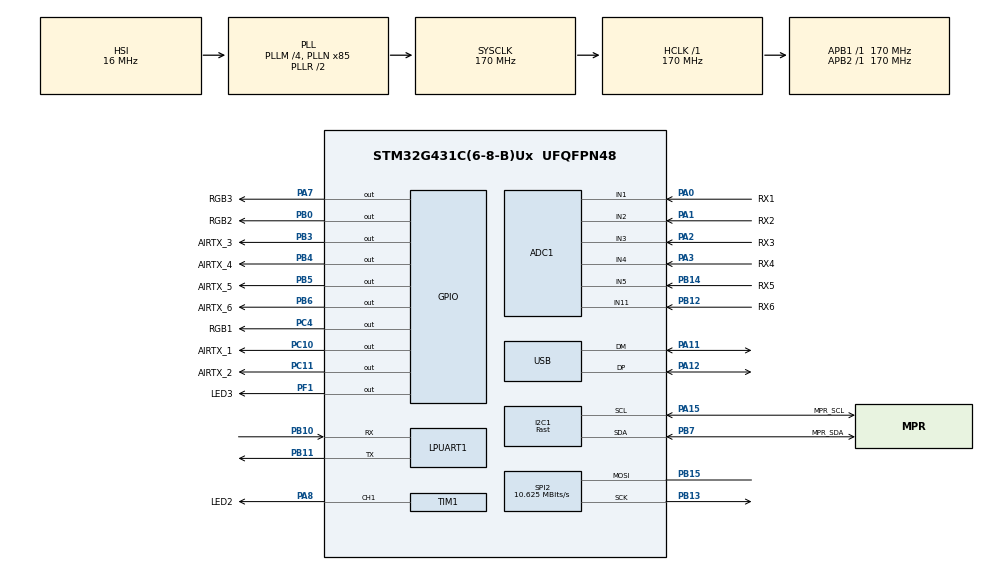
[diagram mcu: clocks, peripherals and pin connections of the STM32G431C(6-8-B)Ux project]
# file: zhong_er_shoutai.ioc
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ADC1.Channel-0\#ChannelRegularConversion=ADC_CHANNEL_1
ADC1.Channel-1\#ChannelRegularConversion=ADC_CHANNEL_2
ADC1.Channel-2\#ChannelRegularConversion=ADC_CHANNEL_3
ADC1.Channel-3\#ChannelRegularConversion=ADC_CHANNEL_4
ADC1.Channel-4\#ChannelRegularConversion=ADC_CHANNEL_5
ADC1.Channel-5\#ChannelRegularConversion=ADC_CHANNEL_11
ADC1.ContinuousConvMode=ENABLE
ADC1.NbrOfConversion=6
ADC1.NbrOfConversionFlag=1
ADC1.OffsetNumber-0\#ChannelRegularConversion=ADC_OFFSET_NONE
ADC1.OffsetNumber-1\#ChannelRegularConversion=ADC_OFFSET_NONE
ADC1.OffsetNumber-2\#ChannelRegularConversion=ADC_OFFSET_NONE
ADC1.OffsetNumber-3\#ChannelRegularConversion=ADC_OFFSET_NONE
ADC1.OffsetNumber-4\#ChannelRegularConversion=ADC_OFFSET_NONE
ADC1.OffsetNumber-5\#ChannelRegularConversion=ADC_OFFSET_NONE
ADC1.Rank-0\#ChannelRegularConversion=1
ADC1.Rank-1\#ChannelRegularConversion=2
ADC1.Rank-2\#ChannelRegularConversion=3
ADC1.Rank-3\#ChannelRegularConversion=4
ADC1.Rank-4\#ChannelRegularConversion=5
ADC1.Rank-5\#ChannelRegularConversion=6
ADC1.SamplingTime-0\#ChannelRegularConversion=ADC_SAMPLETIME_247CYCLES_5
ADC1.SamplingTime-1\#ChannelRegularConversion=ADC_SAMPLETIME_247CYCLES_5
ADC1.SamplingTime-2\#ChannelRegularConversion=ADC_SAMPLETIME_247CYCLES_5
ADC1.SamplingTime-3\#ChannelRegularConversion=ADC_SAMPLETIME_247CYCLES_5
ADC1.SamplingTime-4\#ChannelRegularConversion=ADC_SAMPLETIME_247CYCLES_5
ADC1.SamplingTime-5\#ChannelRegularConversion=ADC_SAMPLETIME_247CYCLES_5
ADC1.master=1
I2C1.I2C_Speed_Mode=I2C_Fast
I2C1.Speed=260
I2C1.Timing=0x20501EB3
Mcu.Family=STM32G4
Mcu.Name=STM32G431C(6-8-B)Ux
Mcu.Package=UFQFPN48
NVIC.PriorityGroup=NVIC_PRIORITYGROUP_4
NVIC.TIM2_IRQn=true\:0\:0\:false\:false\:true\:true\:true\:true
NVIC.TIM6_DAC_IRQn=true\:0\:0\:false\:false\:true\:true\:true\:true
NVIC.USB_LP_IRQn=true\:0\:0\:false\:false\:true\:false\:true\:true
PA0.GPIO_Label=RX1
PA0.Mode=IN1-Single-Ended
PA0.Signal=ADC1_IN1
PA1.GPIO_Label=RX2
PA1.Mode=IN2-Single-Ended
PA1.Signal=ADC1_IN2
PA11.Mode=Device
PA11.Signal=USB_DM
PA12.Mode=Device
PA12.Signal=USB_DP
PA13.Mode=Serial_Wire
PA13.Signal=SYS_JTMS-SWDIO
PA14.Mode=Serial_Wire
PA14.Signal=SYS_JTCK-SWCLK
PA15.GPIO_Label=MPR_SCL
PA15.Mode=I2C
PA15.Signal=I2C1_SCL
PA2.GPIO_Label=RX3
PA2.Mode=IN3-Single-Ended
PA2.Signal=ADC1_IN3
PA3.GPIO_Label=RX4
PA3.Mode=IN4-Single-Ended
PA3.Signal=ADC1_IN4
PA7.GPIO_Label=RGB3
PA7.Signal=GPIO_Output
PA8.GPIO_Label=LED2
PA8.Signal=S_TIM1_CH1
PB0.GPIO_Label=RGB2
PB0.Signal=GPIO_Output
PB10.Mode=Asynchronous
PB10.Signal=LPUART1_RX
PB11.Mode=Asynchronous
PB11.Signal=LPUART1_TX
PB12.GPIO_Label=RX6
PB12.Mode=IN11-Single-Ended
PB12.Signal=ADC1_IN11
PB13.Mode=Simplex_Bidirectional_Master
PB13.Signal=SPI2_SCK
PB14.GPIO_Label=RX5
PB14.Mode=IN5-Single-Ended
PB14.Signal=ADC1_IN5
PB15.Mode=Simplex_Bidirectional_Master
PB15.Signal=SPI2_MOSI
PB3.GPIO_Label=AIRTX_3
PB3.Signal=GPIO_Output
PB4.GPIO_Label=AIRTX_4
PB4.Signal=GPIO_Output
PB5.GPIO_Label=AIRTX_5
PB5.Signal=GPIO_Output
PB6.GPIO_Label=AIRTX_6
PB6.Signal=GPIO_Output
PB7.GPIO_Label=MPR_SDA
PB7.Mode=I2C
PB7.Signal=I2C1_SDA
PC10.GPIO_Label=AIRTX_1
PC10.Signal=GPIO_Output
PC11.GPIO_Label=AIRTX_2
PC11.Signal=GPIO_Output
PC4.GPIO_Label=RGB1
PC4.Signal=GPIO_Output
PF0-OSC_IN.Mode=HSE-External-Clock-Source
PF0-OSC_IN.Signal=RCC_OSC_IN
PF1-OSC_OUT.GPIO_Label=LED3
PF1-OSC_OUT.Signal=GPIO_Output
ProjectManager.HeapSize=0x200
ProjectManager.StackSize=0x400
ProjectManager.TargetToolchain=MDK-ARM V5.32
RCC.ADC12Freq_Value=170000000
RCC.AHBFreq_Value=170000000
RCC.APB1Freq_Value=170000000
RCC.APB1TimFreq_Value=170000000
RCC.APB2Freq_Value=170000000
RCC.APB2TimFreq_Value=170000000
RCC.CK48CLockSelection=RCC_USBCLKSOURCE_HSI48
RCC.CortexFreq_Value=170000000
RCC.EXTERNAL_CLOCK_VALUE=12288000
RCC.HCLKFreq_Value=170000000
RCC.HSE_VALUE=8000000
RCC.HSI48_VALUE=48000000
RCC.HSI_VALUE=16000000
RCC.LSE_VALUE=32768
RCC.PLLM=RCC_PLLM_DIV4
RCC.PLLN=85
RCC.PLLQ=RCC_PLLQ_DIV4
RCC.SYSCLKFreq_VALUE=170000000
RCC.SYSCLKSource=RCC_SYSCLKSOURCE_PLLCLK
RCC.USBFreq_Value=48000000
RCC.VCOOutputFreq_Value=340000000
SH.S_TIM1_CH1.0=TIM1_CH1,PWM Generation1 CH1
SPI2.BaudRatePrescaler=SPI_BAUDRATEPRESCALER_16
SPI2.CalculateBaudRate=10.625 MBits/s
SPI2.DataSize=SPI_DATASIZE_8BIT
SPI2.Direction=SPI_DIRECTION_1LINE
SPI2.Mode=SPI_MODE_MASTER
SPI2.NSSPMode=SPI_NSS_PULSE_DISABLE
SPI2.VirtualType=VM_MASTER
TIM1.Channel-PWM\ Generation1\ CH1=TIM_CHANNEL_1
TIM1.PeriodNoDither=170
TIM1.TIM_MasterOutputTrigger=TIM_TRGO_UPDATE
TIM1.TIM_MasterSlaveMode=TIM_MASTERSLAVEMODE_ENABLE
TIM6.AutoReloadPreload=TIM_AUTORELOAD_PRELOAD_ENABLE
TIM6.PeriodNoDither=10000
TIM6.Prescaler=16
USB_DEVICE.CLASS_NAME_FS=HID
USB_DEVICE.VirtualMode=Hid
USB_DEVICE.VirtualModeFS=Hid_FS
VP_SYS_VS_DBSignals.Mode=DisableDeadBatterySignals
VP_TIM1_VS_ClockSourceINT.Mode=Internal
VP_TIM2_VS_ClockSourceITR.Mode=TriggerSource_ITR1
VP_TIM2_VS_ControllerModeGated.Mode=Gated Mode
VP_TIM6_VS_ClockSourceINT.Mode=Enable_Timer
VP_USB_DEVICE_VS_USB_DEVICE_HID_FS.Mode=HID_FS
board=custom

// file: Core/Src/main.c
/* USER CODE BEGIN Header */
/**
  ******************************************************************************
  * @file           : main.c
  * @brief          : Main program body
  ******************************************************************************
  * @attention
  *
  * Copyright (c) 2024 STMicroelectronics.
  * All rights reserved.
  *
  * This software is licensed under terms that can be found in the LICENSE file
  * in the root directory of this software component.
  * If no LICENSE file comes with this software, it is provided AS-IS.
  *
  ******************************************************************************
  */
/* USER CODE END Header */
#include "main.h"
#include "adc.h"
#include "i2c.h"
#include "usart.h"
#include "spi.h"
#include "tim.h"
#include "usb_device.h"
#include "gpio.h"

/* USER CODE BEGIN Includes */
#include "mpr.h"
#include "usbd_hid.h"
//extern uint8_t CDC_Transmit_FS(uint8_t* Buf, uint16_t Len);
struct send_data my_data;
/* USER CODE END Includes */

/* USER CODE BEGIN PTD */
#define ws2812_zero 0xC0
#define ws2812_one  0xF8

uint8_t ws_peach[48] ={ 0x98,0xFF,0xE4,//0 right
											  0x98,0xFF,0xE4,//1
												0x98,0xFF,0xE4,//2
												0x98,0xFF,0xE4,//3
												0x98,0xFF,0xE4,
												0x98,0xFF,0xE4,
												0x98,0xFF,0xE4,
												0x98,0xFF,0xE4,
												0x98,0xFF,0xE4,
												0x98,0xFF,0xE4,
												0x98,0xFF,0xE4,//10
												0x98,0xFF,0xE4,//11
												0x98,0xFF,0xE4,//12
												0x98,0xFF,0xE4,//13
												0x98,0xFF,0xE4,//14
												0x98,0xFF,0xE4,//15
												};//G R B
 uint8_t WS_scan=0;
volatile uint8_t refresh_flag=0;
void refresh_Color()
{
			for(uint16_t i=0;i<384.;i++)
			{
				while(!(SPI2->SR&(1<<1)))
				{
				}
				if((ws_peach[i/8]&(1<<(i%8))))
				{
					SPI2->DR=ws2812_one;
				}
				else
				{
					SPI2->DR=ws2812_zero;
				}
			}
}
/* USER CODE END PTD */

void SystemClock_Config(void);
/* USER CODE BEGIN PFP */
uint8_t times_1s;
 void HAL_TIM_PeriodElapsedCallback(TIM_HandleTypeDef *htim)
 {
		if(htim == (&htim6))
		{
			times_1s++;
			if(times_1s==10)
			{
				times_1s=0;
				HAL_GPIO_TogglePin(RGB2_GPIO_Port,RGB2_Pin);
				HAL_GPIO_TogglePin(RGB1_GPIO_Port,RGB1_Pin);

			}
			Read_key_value();
			Key_Map();
			USBD_HID_SendReport(&hUsbDeviceFS,key_buffer,40);
		}
 }

 void Air_shoot()
 {
			HAL_GPIO_WritePin(GPIOB,AIRTX_6_Pin,1);
			HAL_GPIO_WritePin(GPIOB,AIRTX_5_Pin,1);
			HAL_GPIO_WritePin(GPIOB,AIRTX_4_Pin,1);
			HAL_GPIO_WritePin(GPIOB,AIRTX_3_Pin,1);
			HAL_GPIO_WritePin(GPIOC,AIRTX_2_Pin,1);
			HAL_GPIO_WritePin(GPIOC,AIRTX_1_Pin,1);

 }

uint16_t adc_value[6];
void ADC_Get_Value()
{
	int i = 0;
	for(i = 0;i < 6;i++)
	{
		HAL_ADC_Start(&hadc1);//ADC1
		HAL_ADC_PollForConversion(&hadc1,10);
		adc_value[i] = HAL_ADC_GetValue(&hadc1);
	}
	HAL_ADC_Stop(&hadc1);
}
/* USER CODE END PFP */

int main(void)
{
  /* USER CODE BEGIN 1 */
		uint8_t text=0xAA;

    my_data.tail[0]=0x00;
		my_data.tail[1]=0x00;
		my_data.tail[2]=0x80;
		my_data.tail[3]=0x7F;
  /* USER CODE END 1 */

  /* MCU Configuration--------------------------------------------------------*/

  /* Reset of all peripherals, Initializes the Flash interface and the Systick. */
  HAL_Init();

  /* Configure the system clock */
  SystemClock_Config();

  /* Initialize all configured peripherals */
  MX_GPIO_Init();
  MX_ADC1_Init();
  MX_LPUART1_UART_Init();
  MX_I2C1_Init();
  MX_USB_Device_Init();
  MX_TIM6_Init();
  MX_TIM1_Init();
  MX_TIM2_Init();
  MX_SPI2_Init();
  /* USER CODE BEGIN 2 */
	MPR121_Init(I2C1,0X5A);
	MPR121_Init(I2C1,0X5B);
	MPR121_Init(I2C1,0X5C);
	MPR121_Init(I2C1,0X5D);
  HAL_TIM_Base_Start_IT(&htim6);
	Air_shoot();

  /* USER CODE END 2 */
		SPI2->CR1|=1<<6;
		SPI2->CR1|=1<<14;

  /* Infinite loop */
  while (1)
  {
			//HAL_SPI_Transmit(&hspi2, &text, 1, 100);
		if(refresh_flag == 1)
		{
			refresh_Color();
			refresh_flag=0;

		}
    /* USER CODE BEGIN 3 */
			ADC_Get_Value();

		//	CDC_Transmit_FS((uint8_t*)&my_data,sizeof(my_data));
  }
  /* USER CODE END 3 */
}

void SystemClock_Config(void)
{
  RCC_OscInitTypeDef RCC_OscInitStruct = {0};
  RCC_ClkInitTypeDef RCC_ClkInitStruct = {0};

  /** Configure the main internal regulator output voltage
  */
  HAL_PWREx_ControlVoltageScaling(PWR_REGULATOR_VOLTAGE_SCALE1_BOOST);

  /** Initializes the RCC Oscillators according to the specified parameters
  * in the RCC_OscInitTypeDef structure.
  */
  RCC_OscInitStruct.OscillatorType = RCC_OSCILLATORTYPE_HSI|RCC_OSCILLATORTYPE_HSI48;
  RCC_OscInitStruct.HSIState = RCC_HSI_ON;
  RCC_OscInitStruct.HSICalibrationValue = RCC_HSICALIBRATION_DEFAULT;
  RCC_OscInitStruct.HSI48State = RCC_HSI48_ON;
  RCC_OscInitStruct.PLL.PLLState = RCC_PLL_ON;
  RCC_OscInitStruct.PLL.PLLSource = RCC_PLLSOURCE_HSI;
  RCC_OscInitStruct.PLL.PLLM = RCC_PLLM_DIV4;
  RCC_OscInitStruct.PLL.PLLN = 85;
  RCC_OscInitStruct.PLL.PLLP = RCC_PLLP_DIV2;
  RCC_OscInitStruct.PLL.PLLQ = RCC_PLLQ_DIV4;
  RCC_OscInitStruct.PLL.PLLR = RCC_PLLR_DIV2;
  if (HAL_RCC_OscConfig(&RCC_OscInitStruct) != HAL_OK)
  {
    Error_Handler();
  }

  /** Initializes the CPU, AHB and APB buses clocks
  */
  RCC_ClkInitStruct.ClockType = RCC_CLOCKTYPE_HCLK|RCC_CLOCKTYPE_SYSCLK
                              |RCC_CLOCKTYPE_PCLK1|RCC_CLOCKTYPE_PCLK2;
  RCC_ClkInitStruct.SYSCLKSource = RCC_SYSCLKSOURCE_PLLCLK;
  RCC_ClkInitStruct.AHBCLKDivider = RCC_SYSCLK_DIV1;
  RCC_ClkInitStruct.APB1CLKDivider = RCC_HCLK_DIV1;
  RCC_ClkInitStruct.APB2CLKDivider = RCC_HCLK_DIV1;

  if (HAL_RCC_ClockConfig(&RCC_ClkInitStruct, FLASH_LATENCY_4) != HAL_OK)
  {
    Error_Handler();
  }
}

void Error_Handler(void)
{
  __disable_irq();
  while (1)
  {
  }
}
